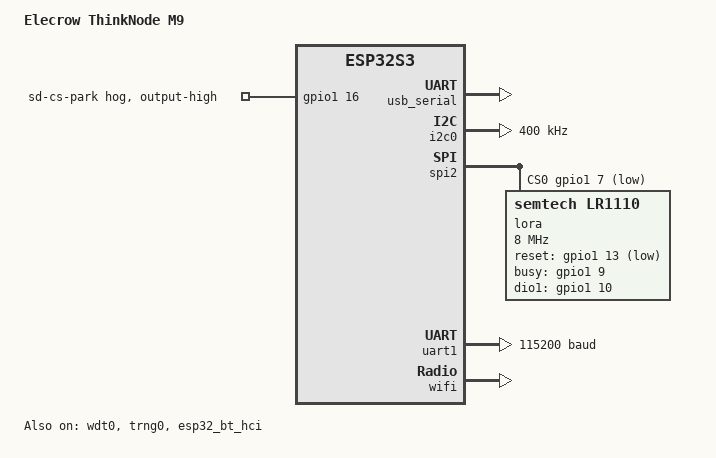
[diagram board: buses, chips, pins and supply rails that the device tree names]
/*
 * SPDX-License-Identifier: MIT
 * Elecrow ThinkNode M9 — ESP32-S3, 16MB flash, 8MB PSRAM
 *
 * Hardware:
 *   MCU:     ESP32-S3-WROOM-1 (Xtensa LX7, dual-core @ 160 MHz)
 *   Flash:   16 MB
 *   PSRAM:   8 MB (OPI) — module variant assumed N16R8, verify at bring-up
 *   Radio:   Semtech LR1110 on shared SPI2 (TCXO 3.3V, DIO5/DIO6 RF switch)
 *   Display: ST7789 320x240 TFT on shared SPI2 (defined in board.overlay)
 *   GPS:     CC1167Q (Unicore family; NOT the L76K MeshCore's variant.h
 *            claims) on UART1 @ 115200
 *   RTC:     PCF8563 @ 0x51 on I2C0
 *   Console: Native USB Serial/JTAG (main firmware reroutes to uart0 and
 *            gives the USB port to the OTG companion transport — see
 *            board.overlay).
 *
 * The LR1110 node lives HERE (not board.overlay) so the standalone
 * tools/lr1110_updater build — which replaces board.overlay with its own
 * minimal overlay — still sees the radio.
 */

/dts-v1/;

#include <espressif/esp32s3/esp32s3_wroom_n16r8.dtsi>
#include "thinknode_m9-pinctrl.dtsi"
#include <espressif/partitions_0x0_default_16M.dtsi>

/ {
	model = "Elecrow ThinkNode M9";
	compatible = "elecrow,thinknode-m9";

	chosen {
		zephyr,sram = &sram1;
		zephyr,console = &usb_serial;
		zephyr,shell-uart = &usb_serial;
		zephyr,flash = &flash0;
		zephyr,code-partition = &slot0_partition;
		zephyr,bt-hci = &esp32_bt_hci;
	};

	aliases {
		uart-0 = &uart0;
		i2c-0 = &i2c0;
		watchdog0 = &wdt0;
		lora0 = &lora;
	};
};

/* Reduce CPU clock from 240 MHz to 160 MHz — HAL Kconfig minimum supported */
&cpu0 {
	clock-frequency = <DT_FREQ_M(160)>;
};

&cpu1 {
	clock-frequency = <DT_FREQ_M(160)>;
};

&usb_serial {
	status = "okay";
};

&i2c0 {
	status = "okay";
	clock-frequency = <I2C_BITRATE_FAST>;
	pinctrl-0 = <&i2c0_default>;
	pinctrl-names = "default";
};

&spi2 {
	status = "okay";
	#address-cells = <1>;
	#size-cells = <0>;
	pinctrl-0 = <&spim2_default>;
	pinctrl-names = "default";

	/* CS 0 = LR1110 NSS (GPIO39), CS 1 = ST7789 TFT (GPIO16).
	 * The TFT itself is declared in board.overlay (mipi-dbi child @1). */
	cs-gpios = <&gpio1 7 GPIO_ACTIVE_LOW>,
		   <&gpio0 16 GPIO_ACTIVE_LOW>;

	lora: lora@0 {
		compatible = "semtech,lr1110";
		reg = <0>;
		spi-max-frequency = <8000000>;

		reset-gpios = <&gpio1 13 GPIO_ACTIVE_LOW>;               /* GPIO45 */
		busy-gpios  = <&gpio1 9 GPIO_ACTIVE_HIGH>;               /* GPIO41 */
		dio1-gpios  = <&gpio1 10 (GPIO_PULL_DOWN | GPIO_ACTIVE_HIGH)>; /* GPIO42 */

		/* TCXO 3.3V via DIO3 (Arduino LR11X0_DIO3_TCXO_VOLTAGE=3.3) */
		tcxo-voltage-mv = <3300>;
		tcxo-startup-delay-ms = <5>;

		/* +3dB RX sensitivity for +2mA — deliberate divergence from the
		 * Arduino variant, which leaves boosted gain off (looks like an
		 * oversight; T1000-E and every other ZephCore LR1110 board use it). */
		rx-boosted;

		/* RF switch truth table from Arduino rfswitch_table[]:
		 * bit0 = DIO5, bit1 = DIO6.
		 *   STBY: DIO5=L DIO6=L   RX:    DIO5=H DIO6=L
		 *   TX:   DIO5=H DIO6=H   TX_HP: DIO5=L DIO6=H
		 * (MODE_TX = low-power PA path, MODE_TX_HP = high-power PA path) */
		rfswitch-enable = <0x03>;
		rfswitch-standby = <0x00>;
		rfswitch-rx = <0x01>;
		rfswitch-tx = <0x03>;
		rfswitch-tx-hp = <0x02>;
		rfswitch-gnss = <0x00>;
	};
};

/* GPS — 115200 baud (the macro Arduino MeshCore actually consumes; the
 * variant.h 9600 value is a dead macro).  GNSS driver node + enable/reset
 * pins live in board.overlay. */
&uart1 {
	status = "okay";
	current-speed = <115200>;
	pinctrl-0 = <&uart1_default>;
	pinctrl-names = "default";
};

&gpio0 { status = "okay"; };

&gpio1 {
	status = "okay";

	/* Park the SD card's CS (GPIO48) HIGH (deselected — the CS itself is
	 * active-low). The SD slot shares SPI2 with the LR1110 and the TFT but
	 * has no Zephyr driver; left floating, an inserted card could drive MISO
	 * and corrupt radio/display transfers. Also protects the standalone
	 * lr1110_updater (this hog lives in the base DTS). */
	sd-cs-park {
		gpio-hog;
		gpios = <16 GPIO_ACTIVE_HIGH>;	/* GPIO48 */
		output-high;			/* physical HIGH = deselected */
	};
};
&wdt0 { status = "okay"; };
&trng0 { status = "okay"; };

&esp32_bt_hci {
	status = "okay";
};

&wifi {
	status = "okay";
};
